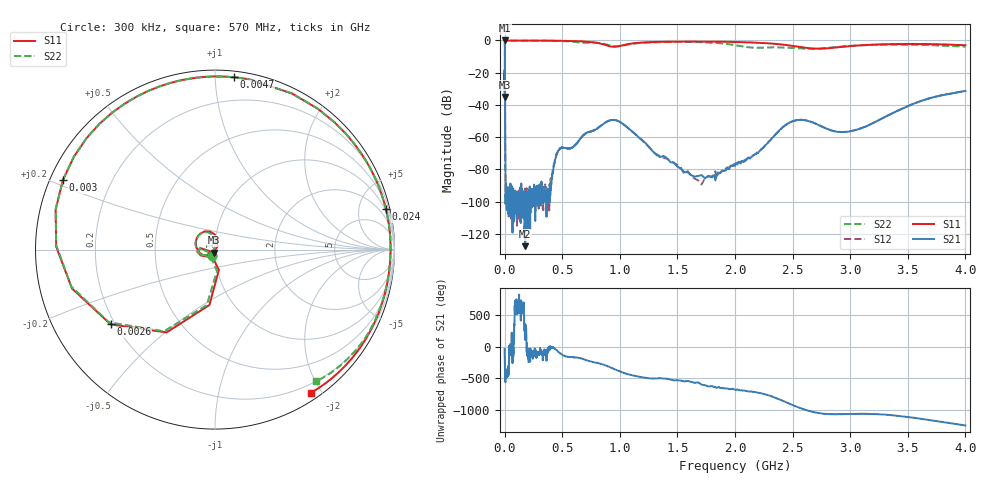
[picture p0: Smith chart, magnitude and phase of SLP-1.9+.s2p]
! Mini-Circuits
! S2P DATA File Format
! Type: LOW PASS FILTER
! Model: SLP-1.9+
! All S Parameters are in dB deg format
! TEST CONDITIONS: INPUT POWER = 0 dBm @ Temperature = +25deg C
# MHz S DB R 50
!FREQ  MAG(S11)PHS(S11) MAG(S21)PHS(S21)MAG(S12)PHS(S12)MAG(S22)PHS(S22)
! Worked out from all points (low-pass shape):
!   929 points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, 300 kHz to 4 GHz, reference 50 ohm
!   highest |S21| = -0.09 dB at 300 kHz (marker M1); lowest = -127.5 dB at 179 MHz (marker M2)
!   |S21| within 3 dB of the highest: start of sweep to 2.502 MHz
!   lowest |S11| = -35.1 dB at 1.7 MHz (marker M3), VSWR 1.04, Z = 49.3 - j1.61 ohm
!   |S11| at or under -10 dB: start of sweep to 2.403 MHz
!   |S22| runs from -35.6 to -0.2 dB; largest |S21 - S12| = 0.0012
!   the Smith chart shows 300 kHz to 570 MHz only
!   S11 on the Smith chart (normalised r, x): 300 kHz: 0.97, -0.06; 2.6 MHz: 0.18, -0.31; 3 MHz: 0.04, +0.22; 4.7 MHz: 0.04, +1.11; 24 MHz: 0.79, +8.50; 570 MHz: 0.09, -1.87
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0.3  -28.73 -116.9  -0.09 -36.3  -0.09 -36.3  -28.79 -114.8
0.9  -18.83 160.0  -0.21 -110.3  -0.21 -110.3  -18.89 164.7
1.7  -35.11 -111.9  -0.35 140.6  -0.35 140.6  -35.57 -143.4
2.6  -2.91 -144.4  -5.37 -47.0  -5.37 -47.0  -2.90 -145.6
3  -0.61 155.5  -17.20 -108.8  -17.19 -108.9  -0.61 155.2
4.7  -0.30 83.9  -50.52 -179.9  -50.53 180.0  -0.30 84.1
5  -0.29 78.1  -54.72 174.9  -54.70 174.6  -0.29 78.4
10  -0.23 36.8  -95.56 -71.0  -90.13 -38.6  -0.22 37.1
24  -0.19 13.3  -96.47 -89.3  -95.41 -77.2  -0.19 13.6
179  -0.20 -15.1  -127.54 -78.2  -95.29 -143.5  -0.21 -13.7
416  -0.23 -39.6  -82.87 -19.4  -82.18 -22.3  -0.34 -36.8
474  -0.27 -45.7  -67.77 -90.8  -67.56 -90.4  -0.43 -42.5
570  -0.36 -56.2  -67.04 -161.8  -67.11 -162.1  -0.71 -52.6
668  -0.63 -67.6  -59.95 174.3  -60.03 173.9  -1.49 -59.6
962  -3.96 -84.2  -49.48 -1.8  -49.46 -2.2  -3.72 -77.7
1350  -0.95 -113.5  -72.27 -137.7  -71.80 -139.2  -1.12 -101.0
2010  -1.05 180.0  -75.91 36.6  -76.04 41.3  -3.12 -167.2
2470  -3.17 133.3  -51.11 178.8  -51.12 178.6  -4.65 174.0
2670  -5.06 125.1  -50.78 48.0  -50.76 47.9  -5.27 167.6
2960  -3.83 117.6  -56.83 11.8  -56.75 11.6  -3.67 155.9
3340  -2.39 83.2  -46.13 -3.0  -46.08 -3.1  -2.66 123.8
4000  -3.05 22.2  -31.36 -169.4  -31.35 -169.6  -3.93 73.2
